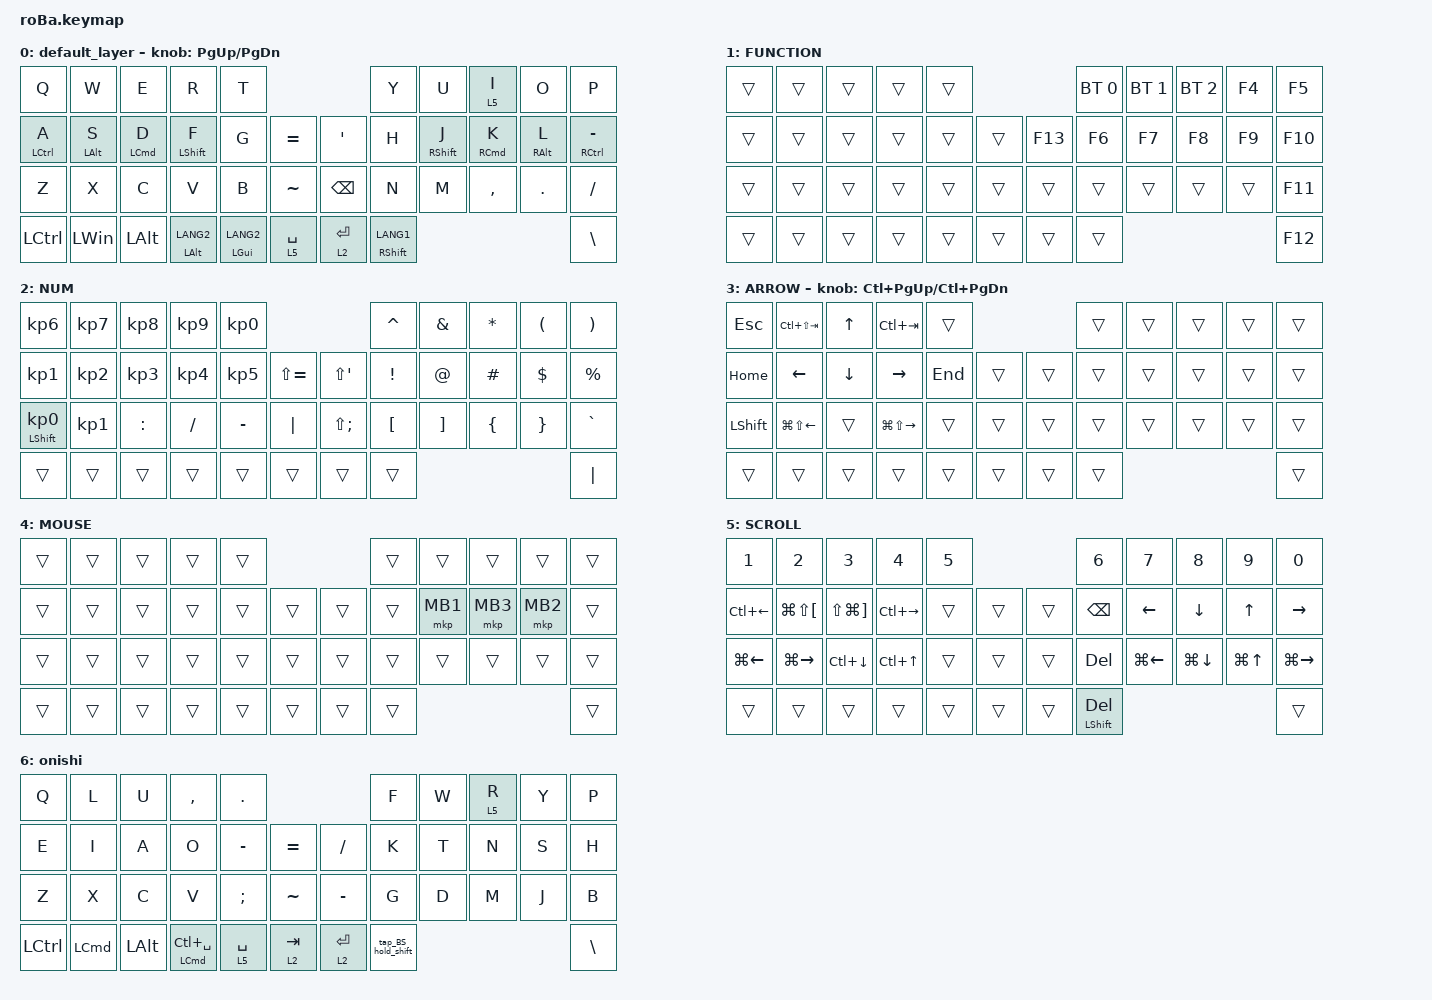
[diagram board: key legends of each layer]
#include <behaviors.dtsi>
#include <dt-bindings/zmk/bt.h>
#include <dt-bindings/zmk/keys.h>
#include <dt-bindings/zmk/pointing.h>

#define MOUSE 4
#define SCROLL 5
#define NUM 6

&mt {
    flavor = "balanced";
    quick-tap-ms = <0>;
};

/ {
    combos {
        compatible = "zmk,combos";

        tab {
            bindings = <&kp TAB>;
            key-positions = <11 12>;
        };

        shift_tab {
            bindings = <&kp LS(TAB)>;
            key-positions = <12 13>;
        };

        single_quotation {
            bindings = <&kp SINGLE_QUOTE>;
            key-positions = <20 19>;
        };

        semi_colon {
            bindings = <&kp SEMICOLON>;
            key-positions = <20 21>;
        };

        esc {
            bindings = <&kp ESCAPE>;
            key-positions = <1 2>;
        };

        equal {
            bindings = <&kp EQUAL>;
            key-positions = <8 9>;
        };

        toggle_onishi {
            bindings = <&tog 6>;
            key-positions = <27 28>;
        };

        bootloader_right {
            bindings = <&bootloader>;
            key-positions = <16 9 40 42>;
        };

        bootloader_left {
            bindings = <&bootloader>;
            key-positions = <15 0 34 39>;
        };

        to_function_layer {
            bindings = <&mo 1>;
            key-positions = <0 4>;
        };
    };

    macros {
        to_layer_0: to_layer_0 {
            compatible = "zmk,behavior-macro-one-param";
            #binding-cells = <1>;
            bindings = <&to 0 &macro_param_1to1 &kp MACRO_PLACEHOLDER>;
            label = "TO_LAYER_0";
        };
    };

    behaviors {
        lt_to_layer_0: lt_to_layer_0 {
            compatible = "zmk,behavior-hold-tap";
            label = "LAYER_TAP_TO_0";
            bindings = <&mo>, <&to_layer_0>;

            #binding-cells = <2>;
            tapping-term-ms = <200>;
        };

        tap_BS_hold_shift: tap_BS_hold_shift {
            compatible = "zmk,behavior-tap-dance";
            label = "TAP_BS_HOLD_SHIFT";
            #binding-cells = <0>;
            bindings = <&mt LEFT_SHIFT BACKSPACE>, <&kp BACKSPACE>;

            tapping-term-ms = <150>;
        };
    };

    keymap {
        compatible = "zmk,keymap";

        default_layer {
            bindings = <
&kp Q               &kp W           &kp E               &kp R               &kp T                                                  &kp Y                  &kp U              &lt 5 I              &kp O            &kp P
&mt LEFT_CONTROL A  &mt LEFT_ALT S  &mt LEFT_COMMAND D  &mt LEFT_SHIFT F    &kp G               &kp EQUAL        &kp SINGLE_QUOTE  &kp H                  &mt RIGHT_SHIFT J  &mt RIGHT_COMMAND K  &mt RIGHT_ALT L  &mt RIGHT_CONTROL MINUS
&kp Z               &kp X           &kp C               &kp V               &kp B               &kp TILDE        &kp BACKSPACE     &kp N                  &kp M              &kp COMMA            &kp DOT          &kp SLASH
&kp LCTRL           &kp LEFT_WIN    &kp LEFT_ALT        &mt LEFT_ALT LANG2  &mt LEFT_GUI LANG2  &lt 5 SPACE      &lt 2 ENTER       &mt RIGHT_SHIFT LANG1                                                           &kp BACKSLASH
            >;

            sensor-bindings = <&inc_dec_kp PG_UP PAGE_DOWN>;
        };

        FUNCTION {
            bindings = <
&trans  &trans  &trans  &trans  &trans                       &bt BT_SEL 0  &bt BT_SEL 1  &bt BT_SEL 2  &kp F4  &kp F5
&trans  &trans  &trans  &trans  &trans  &trans      &kp F13  &kp F6        &kp F7        &kp F8        &kp F9  &kp F10
&trans  &trans  &trans  &trans  &trans  &trans      &trans   &trans        &trans        &trans        &trans  &kp F11
&trans  &trans  &trans  &trans  &trans  &trans      &trans   &trans                                            &kp F12
            >;
        };

        NUM {
            bindings = <
&kp KP_NUMBER_6             &kp KP_NUMBER_7  &kp KP_NUMBER_8  &kp KP_NUMBER_9  &kp KP_NUMBER_0                                        &kp CARET         &kp AMPERSAND      &kp ASTRK       &kp LEFT_PARENTHESIS  &kp RIGHT_PARENTHESIS
&kp KP_NUMBER_1             &kp KP_NUMBER_2  &kp KP_NUMBER_3  &kp KP_NUMBER_4  &kp KP_NUMBER_5  &kp LS(EQUAL)      &kp LS(SQT)        &kp EXCLAMATION   &kp AT_SIGN        &kp HASH        &kp DOLLAR            &kp PERCENT
&mt LEFT_SHIFT KP_NUMBER_0  &kp KP_NUMBER_1  &kp COLON        &kp SLASH        &kp MINUS        &kp PIPE           &kp LS(SEMICOLON)  &kp LEFT_BRACKET  &kp RIGHT_BRACKET  &kp LEFT_BRACE  &kp RIGHT_BRACE       &kp GRAVE
&trans                      &trans           &trans           &trans           &trans           &trans             &trans             &trans                                                                     &kp PIPE
            >;
        };

        ARROW {
            bindings = <
&kp ESCAPE      &kp LC(LS(TAB))         &kp UP_ARROW    &kp LC(TAB)              &trans                       &trans  &trans  &trans  &trans  &trans
&kp HOME        &kp LEFT_ARROW          &kp DOWN_ARROW  &kp RIGHT_ARROW          &kp END  &trans      &trans  &trans  &trans  &trans  &trans  &trans
&kp LEFT_SHIFT  &kp LG(LS(LEFT_ARROW))  &trans          &kp LG(LS(RIGHT_ARROW))  &trans   &trans      &trans  &trans  &trans  &trans  &trans  &trans
&trans          &trans                  &trans          &trans                   &trans   &trans      &trans  &trans                          &trans
            >;

            sensor-bindings = <&inc_dec_kp LC(PAGE_UP) LC(PAGE_DOWN)>;
        };

        MOUSE {
            bindings = <
&trans  &trans  &trans  &trans  &trans                      &trans  &trans    &trans    &trans    &trans
&trans  &trans  &trans  &trans  &trans  &trans      &trans  &trans  &mkp MB1  &mkp MB3  &mkp MB2  &trans
&trans  &trans  &trans  &trans  &trans  &trans      &trans  &trans  &trans    &trans    &trans    &trans
&trans  &trans  &trans  &trans  &trans  &trans      &trans  &trans                                &trans
            >;
        };

        SCROLL {
            bindings = <
&kp NUMBER_1        &kp NUMBER_2              &kp NUMBER_3               &kp NUMBER_4         &kp NUMBER_5                      &kp NUMBER_6           &kp NUMBER_7        &kp NUMBER_8        &kp NUMBER_9      &kp NUMBER_0
&kp LC(LEFT_ARROW)  &kp LG(LS(LEFT_BRACKET))  &kp LS(LG(RIGHT_BRACKET))  &kp LC(RIGHT_ARROW)  &trans        &trans      &trans  &kp BACKSPACE          &kp LEFT_ARROW      &kp DOWN_ARROW      &kp UP_ARROW      &kp RIGHT_ARROW
&kp LG(LEFT_ARROW)  &kp LG(RIGHT)             &kp LC(DOWN_ARROW)         &kp LC(UP_ARROW)     &trans        &trans      &trans  &kp DELETE             &kp LG(LEFT_ARROW)  &kp LG(DOWN_ARROW)  &kp LG(UP_ARROW)  &kp LG(RIGHT_ARROW)
&trans              &trans                    &trans                     &trans               &trans        &trans      &trans  &mt LEFT_SHIFT DELETE                                                            &trans
            >;
        };

        onishi {
            bindings = <
&kp Q             &kp L             &kp U         &kp COMMA                   &kp PERIOD                                 &kp F               &kp W  &lt 5 R  &kp Y  &kp P
&kp E             &kp I             &kp A         &kp O                       &kp MINUS      &kp EQUAL      &kp SLASH    &kp K               &kp T  &kp N    &kp S  &kp H
&kp Z             &kp X             &kp C         &kp V                       &kp SEMICOLON  &kp TILDE      &kp MINUS    &kp G               &kp D  &kp M    &kp J  &kp B
&kp LEFT_CONTROL  &kp LEFT_COMMAND  &kp LEFT_ALT  &mt LEFT_COMMAND LC(SPACE)  &lt 5 SPACE    &lt 2 TAB      &lt 2 ENTER  &tap_BS_hold_shift                         &kp BACKSLASH
            >;
        };
    };
};
